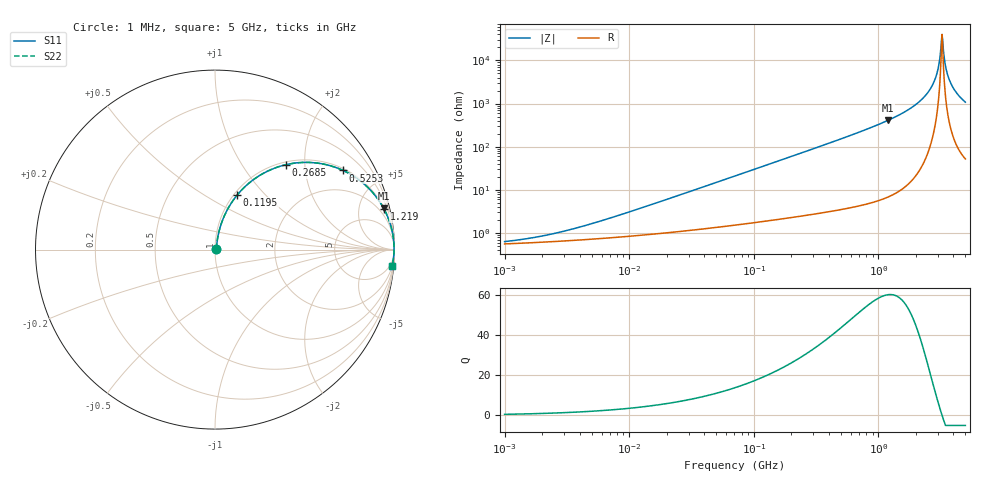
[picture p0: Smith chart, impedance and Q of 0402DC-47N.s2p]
# MHz  S  MA  R  50
!Freq  MagS11  AngS11  MagS21  AngS21  MagS12  AngS12  MagS22  AngS22
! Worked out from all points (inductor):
!   801 points, 1 MHz to 5 GHz, reference 50 ohm
!   read as one part in series: L = 47 nH near 8.155 MHz
!   highest Q = 60 at 1.193 GHz (marker M1), where L = 54.3 nH
!   self-resonance near 3.248 GHz
!   S11 on the Smith chart (normalised r, x): 1 MHz: 1.01, +0.01; 119.5 MHz: 1.04, +0.71; 268.5 MHz: 1.05, +1.60; 525.3 MHz: 1.07, +3.19; 1.219 GHz: 1.14, +8.38; 5 GHz: 2, -22
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1  0.006265 27.8  0.9945 -0.2  0.9945 -0.2  0.006265 27.8
1.998603  0.008437 43.7  0.9939 -0.3  0.9939 -0.3  0.008437 43.7
4.168304  0.01402 60.0  0.9931 -0.7  0.9931 -0.7  0.01402 60.0
17.19065  0.05112 76.4  0.9892 -2.9  0.9892 -2.9  0.05112 76.4
70.89654  0.2026 74.2  0.9647 -11.7  0.9647 -11.7  0.2026 74.2
119.4886  0.3282 67.9  0.9276 -19.1  0.9276 -19.1  0.3282 67.9
268.5007  0.6145 50.3  0.7693 -37.9  0.7693 -37.9  0.6145 50.3
295.5183  0.651 47.7  0.7394 -40.6  0.7394 -40.6  0.651 47.7
525.3138  0.8386 31.7  0.5263 -57.0  0.5263 -57.0  0.8386 31.7
1193.065  0.9674 13.7  0.2375 -75.3  0.2375 -75.3  0.9674 13.7
1218.757  0.969 13.4  0.2313 -75.7  0.2313 -75.7  0.969 13.4
1886.281  0.9906 6.8  0.1179 -82.1  0.1179 -82.1  0.9906 6.8
2488.267  0.9962 3.2  0.05609 -84.5  0.05609 -84.5  0.9962 3.2
2888.477  0.9974 1.4  0.02462 -83.3  0.02462 -83.3  0.9974 1.4
3014.221  0.9975 0.9  0.01579 -80.5  0.01579 -80.5  0.9975 0.9
3145.44  0.9976 0.4  0.007169 -69.8  0.007169 -69.8  0.9976 0.4
3247.589  0.9975 0.0  0.002491 -2.4  0.002491 -2.4  0.9975 0.0
3353.055  0.9974 -0.4  0.007024 68.2  0.007024 68.2  0.9974 -0.4
3574.375  0.9971 -1.1  0.02003 81.0  0.02003 81.0  0.9971 -1.1
3810.303  0.9965 -1.9  0.03334 83.0  0.03334 83.0  0.9965 -1.9
4284.022  0.9948 -3.3  0.05814 83.2  0.05814 83.2  0.9948 -3.3
5000  0.9913 -5.3  0.09189 82.0  0.09189 82.0  0.9913 -5.3
